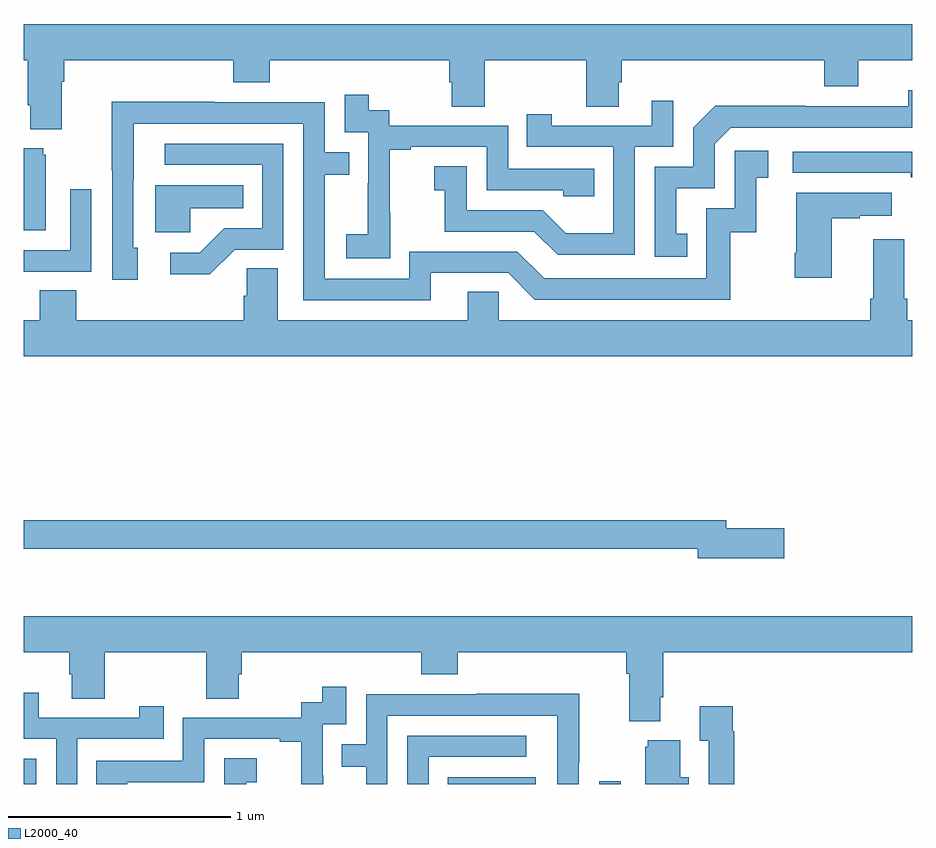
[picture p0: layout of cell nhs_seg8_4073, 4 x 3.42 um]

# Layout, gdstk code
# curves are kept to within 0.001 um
import gdstk
lib = gdstk.Library(unit=1e-6, precision=1e-09)
def R(c, l, rs):  # rectangles x0, y0, x1, y1
    for r in rs: c.add(gdstk.rectangle(r[:2], r[2:], *l))
def P(c, l, *ps):  # polygons
    for p in ps: c.add(gdstk.Polygon(p, *l))
L2000_40 = (2000, 40)

nhs_seg8_4073 = lib.new_cell('nhs_seg8_4073')
R(nhs_seg8_4073, L2000_40, [(361,1123.9,361.056,1124.013), (362.908,1123.9,363.304,1123.93), (363.591,1123.9,363.687,1123.912)])
P(nhs_seg8_4073, L2000_40, [(361,1127.156),(361.019,1127.156),(361.019,1126.954),(361.031,1126.954),(361.031,1126.847),(361.171,1126.847),(361.171,1127.06),(361.184,1127.06),(361.184,1127.156),(361.943,1127.156),(361.943,1127.057),(362.108,1127.057),(362.108,1127.156),(362.915,1127.156),(362.915,1127.058),(362.927,1127.058),(362.927,1126.948),(363.075,1126.948),(363.075,1127.156),(363.532,1127.156),(363.532,1126.948),(363.679,1126.948),(363.679,1127.058),(363.692,1127.058),(363.692,1127.156),(364.604,1127.156),(364.604,1127.039),(364.756,1127.039),(364.756,1127.156),(365,1127.156),(365,1127.32),(361,1127.32)],
  [(363.986,1126.377),(363.937,1126.377),(363.937,1126.581),(364.11,1126.581),(364.11,1126.782),(364.182,1126.854),(365,1126.854),(365,1127.023),(364.98,1127.023),(364.98,1126.95),(364.52,1126.95),(364.52,1126.952),(364.112,1126.952),(364.014,1126.854),(364.014,1126.677),(363.84,1126.677),(363.84,1126.272),(363.986,1126.272)],
  [(362.649,1126.471),(362.648,1126.471),(362.648,1126.755),(362.743,1126.755),(362.743,1126.767),(363.084,1126.767),(363.084,1126.572),(363.429,1126.572),(363.429,1126.545),(363.569,1126.545),(363.569,1126.668),(363.18,1126.668),(363.18,1126.863),(362.646,1126.863),(362.646,1126.932),(362.554,1126.932),(362.554,1127.002),(362.445,1127.002),(362.445,1126.833),(362.55,1126.833),(362.55,1126.604),(362.549,1126.604),(362.549,1126.375),(362.451,1126.375),(362.451,1126.265),(362.649,1126.265)],
  [(363.75,1126.767),(363.924,1126.767),(363.924,1126.975),(363.827,1126.975),(363.827,1126.863),(363.376,1126.863),(363.376,1126.915),(363.265,1126.915),(363.265,1126.767),(363.654,1126.767),(363.654,1126.378),(363.44,1126.378),(363.336,1126.482),(362.994,1126.482),(362.994,1126.681),(362.847,1126.681),(362.847,1126.571),(362.896,1126.571),(362.896,1126.386),(363.299,1126.386),(363.404,1126.281),(363.75,1126.281)],
  [(362.833,1126.2),(363.18,1126.2),(363.3,1126.08),(364.18,1126.08),(364.18,1126.383),(364.298,1126.383),(364.298,1126.629),(364.351,1126.629),(364.351,1126.75),(364.2,1126.75),(364.2,1126.491),(364.071,1126.491),(364.071,1126.176),(363.342,1126.176),(363.222,1126.296),(362.736,1126.296),(362.736,1126.173),(362.355,1126.173),(362.355,1126.642),(362.465,1126.642),(362.465,1126.743),(362.355,1126.743),(362.355,1126.968),(361.859,1126.968),(361.859,1126.97),(361.396,1126.97),(361.396,1126.663),(361.398,1126.663),(361.398,1126.17),(361.513,1126.17),(361.513,1126.314),(361.494,1126.314),(361.495,1126.872),(362.259,1126.872),(362.259,1126.077),(362.833,1126.077)],
  [(361.95,1126.305),(362.169,1126.305),(362.169,1126.782),(361.635,1126.782),(361.635,1126.686),(362.073,1126.686),(362.073,1126.401),(361.904,1126.401),(361.793,1126.29),(361.659,1126.29),(361.659,1126.193),(361.837,1126.193)],
  [(361.099,1126.731),(361.088,1126.731),(361.088,1126.762),(361,1126.762),(361,1126.391),(361.099,1126.391)],
  [(365,1126.746),(364.461,1126.746),(364.461,1126.65),(364.993,1126.65),(364.993,1126.63),(365,1126.63)],
  [(361.749,1126.49),(361.988,1126.49),(361.988,1126.594),(361.592,1126.594),(361.592,1126.382),(361.749,1126.382)],
  [(361.305,1126.576),(361.209,1126.576),(361.209,1126.302),(361,1126.302),(361,1126.206),(361.305,1126.206)],
  [(364.636,1126.447),(364.763,1126.447),(364.763,1126.457),(364.906,1126.457),(364.906,1126.561),(364.478,1126.561),(364.478,1126.291),(364.471,1126.291),(364.471,1126.179),(364.636,1126.179)],
  [(365,1125.988),(364.976,1125.988),(364.976,1126.084),(364.963,1126.084),(364.963,1126.351),(364.823,1126.351),(364.823,1126.084),(364.811,1126.084),(364.811,1125.988),(363.138,1125.988),(363.138,1126.115),(362.999,1126.115),(362.999,1125.988),(362.143,1125.988),(362.143,1126.22),(362.004,1126.22),(362.004,1126.097),(361.991,1126.097),(361.991,1125.988),(361.238,1125.988),(361.238,1126.121),(361.073,1126.121),(361.073,1125.988),(361,1125.988),(361,1125.824),(365,1125.824)],
  [(364.423,1125.05),(364.162,1125.05),(364.162,1125.086),(361,1125.086),(361,1124.958),(364.034,1124.958),(364.034,1124.915),(364.423,1124.915)],
  [(363.865,1124.29),(363.878,1124.29),(363.878,1124.492),(365,1124.492),(365,1124.656),(361,1124.656),(361,1124.492),(361.205,1124.492),(361.205,1124.394),(361.217,1124.394),(361.217,1124.284),(361.365,1124.284),(361.365,1124.492),(361.822,1124.492),(361.822,1124.284),(361.969,1124.284),(361.969,1124.394),(361.982,1124.394),(361.982,1124.492),(362.789,1124.492),(362.789,1124.393),(362.954,1124.393),(362.954,1124.492),(363.713,1124.492),(363.713,1124.396),(363.725,1124.396),(363.725,1124.183),(363.865,1124.183)],
  [(361.467,1123.908),(361.812,1123.908),(361.812,1124.103),(362.153,1124.103),(362.153,1124.091),(362.249,1124.091),(362.249,1123.9),(362.348,1123.9),(362.348,1123.94),(362.346,1123.94),(362.346,1124.169),(362.451,1124.169),(362.451,1124.338),(362.343,1124.338),(362.343,1124.268),(362.25,1124.268),(362.25,1124.199),(361.716,1124.199),(361.716,1124.004),(361.327,1124.004),(361.327,1123.9),(361.467,1123.9)],
  [(361.242,1124.103),(361.631,1124.103),(361.631,1124.251),(361.52,1124.251),(361.52,1124.199),(361.069,1124.199),(361.069,1124.311),(361,1124.311),(361,1124.103),(361.146,1124.103),(361.146,1123.9),(361.242,1123.9)],
  [(362.637,1124.208),(363.401,1124.208),(363.401,1123.954),(363.402,1123.954),(363.402,1123.9),(363.498,1123.9),(363.498,1123.999),(363.501,1123.999),(363.501,1124.306),(363.037,1124.306),(363.037,1124.304),(362.541,1124.304),(362.541,1124.079),(362.431,1124.079),(362.431,1123.978),(362.541,1123.978),(362.541,1123.9),(362.637,1123.9)],
  [(364.199,1124.138),(364.192,1124.138),(364.192,1124.251),(364.043,1124.251),(364.043,1124.095),(364.083,1124.095),(364.083,1123.9),(364.199,1123.9)],
  [(362.823,1124.022),(363.262,1124.022),(363.262,1124.118),(362.727,1124.118),(362.727,1123.9),(362.823,1123.9)],
  [(363.994,1123.93),(363.955,1123.93),(363.955,1124.098),(363.809,1124.098),(363.809,1124.067),(363.797,1124.067),(363.797,1123.9),(363.994,1123.9)],
  [(362.001,1123.907),(362.05,1123.907),(362.05,1124.017),(361.902,1124.017),(361.902,1123.9),(362.001,1123.9)])

lib.write_gds('nhs_seg8_4073.gds')
